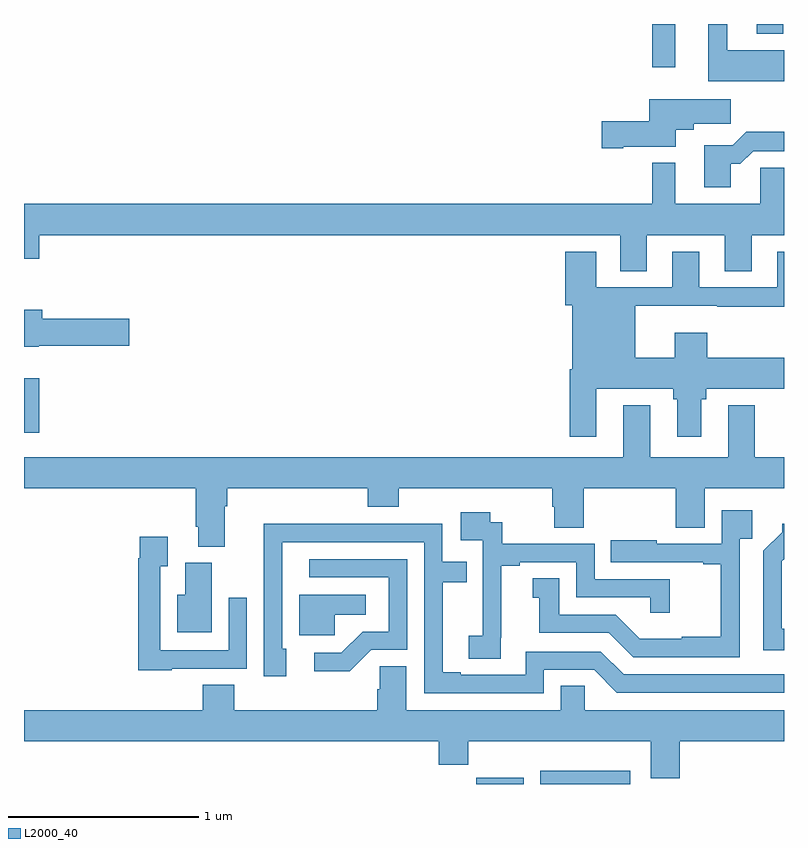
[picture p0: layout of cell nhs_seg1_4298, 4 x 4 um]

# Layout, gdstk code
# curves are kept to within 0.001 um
import gdstk
lib = gdstk.Library(unit=1e-6, precision=1e-09)
def R(c, l, rs):  # rectangles x0, y0, x1, y1
    for r in rs: c.add(gdstk.rectangle(r[:2], r[2:], *l))
def P(c, l, *ps):  # polygons
    for p in ps: c.add(gdstk.Polygon(p, *l))
L2000_40 = (2000, 40)

nhs_seg1_4298 = lib.new_cell('nhs_seg1_4298')
R(nhs_seg1_4298, L2000_40, [(347.38,526.199,347.629,526.231), (347.717,526.199,348.19,526.27), (345,528.048,345.08,528.334), (348.306,529.971,348.427,530.199), (348.857,530.147,348.997,530.199)])
P(nhs_seg1_4298, L2000_40, [(349,530.062),(348.7,530.062),(348.7,530.199),(348.602,530.199),(348.602,529.898),(349,529.898)],
  [(348.154,529.553),(348.43,529.553),(348.43,529.643),(348.526,529.643),(348.526,529.675),(348.721,529.675),(348.721,529.804),(348.29,529.804),(348.29,529.688),(348.042,529.688),(348.042,529.546),(348.154,529.546)],
  [(348.721,529.463),(348.77,529.463),(348.837,529.53),(349,529.53),(349,529.631),(348.8,529.631),(348.73,529.561),(348.581,529.561),(348.581,529.341),(348.721,529.341)],
  [(348.277,529.088),(348.689,529.088),(348.689,528.898),(348.829,528.898),(348.829,529.088),(349,529.088),(349,529.442),(348.876,529.442),(348.876,529.252),(348.427,529.252),(348.427,529.468),(348.306,529.468),(348.306,529.252),(345,529.252),(345,528.964),(345.08,528.964),(345.08,529.088),(348.137,529.088),(348.137,528.898),(348.277,528.898)],
  [(348.013,528.278),(348.418,528.278),(348.418,528.225),(348.437,528.225),(348.437,528.027),(348.565,528.027),(348.565,528.225),(348.591,528.225),(348.591,528.278),(349,528.278),(349,528.442),(348.596,528.442),(348.596,528.574),(348.425,528.574),(348.425,528.442),(348.217,528.442),(348.217,528.716),(348.649,528.716),(348.649,528.712),(349,528.712),(349,529),(348.965,529),(348.965,528.813),(348.553,528.813),(348.553,529),(348.413,529),(348.413,528.813),(348.013,528.813),(348.013,529),(347.849,529),(347.849,528.72),(347.885,528.72),(347.885,528.382),(347.873,528.382),(347.873,528.027),(348.013,528.027)],
  [(345.078,528.506),(345.553,528.506),(345.553,528.648),(345.095,528.648),(345.095,528.694),(345,528.694),(345,528.5),(345.078,528.5)],
  [(346.057,527.66),(346.07,527.66),(346.07,527.756),(346.808,527.756),(346.808,527.657),(346.973,527.657),(346.973,527.756),(347.78,527.756),(347.78,527.658),(347.792,527.658),(347.792,527.548),(347.945,527.548),(347.945,527.756),(348.431,527.756),(348.431,527.548),(348.583,527.548),(348.583,527.756),(349,527.756),(349,527.92),(348.847,527.92),(348.847,528.193),(348.707,528.193),(348.707,527.92),(348.295,527.92),(348.295,528.193),(348.155,528.193),(348.155,527.92),(345,527.92),(345,527.756),(345.905,527.756),(345.905,527.554),(345.917,527.554),(345.917,527.449),(346.057,527.449)],
  [(348.768,527.489),(348.833,527.489),(348.833,527.641),(348.672,527.641),(348.672,527.463),(348.331,527.463),(348.331,527.482),(348.088,527.482),(348.088,527.367),(348.575,527.367),(348.575,527.355),(348.667,527.355),(348.667,526.975),(348.461,526.975),(348.461,526.963),(348.242,526.963),(348.114,527.091),(347.818,527.091),(347.818,527.282),(347.678,527.282),(347.678,527.179),(347.711,527.179),(347.711,526.995),(348.078,526.995),(348.207,526.866),(348.768,526.866)],
  [(347.51,526.969),(347.512,526.969),(347.512,527.347),(347.608,527.347),(347.608,527.367),(347.907,527.367),(347.907,527.181),(348.297,527.181),(348.297,527.1),(348.398,527.1),(348.398,527.277),(348.003,527.277),(348.003,527.463),(347.516,527.463),(347.516,527.577),(347.454,527.577),(347.454,527.629),(347.298,527.629),(347.298,527.481),(347.415,527.481),(347.415,527.177),(347.414,527.177),(347.414,526.98),(347.34,526.98),(347.34,526.858),(347.51,526.858)],
  [(349,527.015),(348.988,527.015),(348.988,527.371),(349,527.383),(349,527.57),(348.99,527.57),(348.99,527.525),(348.891,527.426),(348.891,526.902),(349,526.902)],
  [(347.736,526.8),(348,526.8),(348.12,526.68),(349,526.68),(349,526.776),(348.156,526.776),(348.036,526.896),(347.64,526.896),(347.64,526.773),(347.299,526.773),(347.299,526.788),(347.203,526.788),(347.203,527.262),(347.33,527.262),(347.33,527.37),(347.202,527.37),(347.202,527.568),(346.724,527.568),(346.724,527.57),(346.262,527.57),(346.263,526.767),(346.381,526.767),(346.381,526.911),(346.359,526.911),(346.359,527.472),(347.106,527.472),(347.106,526.677),(347.736,526.677)],
  [(345.777,526.806),(346.173,526.806),(346.173,527.179),(346.077,527.179),(346.077,526.902),(345.717,526.902),(345.717,527.344),(345.757,527.344),(345.757,527.5),(345.609,527.5),(345.609,527.387),(345.601,527.387),(345.601,526.799),(345.777,526.799)],
  [(346.827,526.905),(347.016,526.905),(347.016,527.382),(346.5,527.382),(346.5,527.286),(346.92,527.286),(346.92,527.001),(346.782,527.001),(346.671,526.89),(346.527,526.89),(346.527,526.793),(346.714,526.793)],
  [(345.988,527.364),(345.848,527.364),(345.848,527.194),(345.806,527.194),(345.806,526.997),(345.988,526.997)],
  [(346.635,527.09),(346.798,527.09),(346.798,527.194),(346.448,527.194),(346.448,526.983),(346.635,526.983)],
  [(348.452,526.424),(349,526.424),(349,526.588),(347.952,526.588),(347.952,526.715),(347.825,526.715),(347.825,526.588),(347.011,526.588),(347.011,526.82),(346.872,526.82),(346.872,526.697),(346.859,526.697),(346.859,526.588),(346.106,526.588),(346.106,526.721),(345.941,526.721),(345.941,526.588),(345,526.588),(345,526.424),(347.183,526.424),(347.183,526.3),(347.339,526.3),(347.339,526.424),(348.299,526.424),(348.299,526.23),(348.452,526.23)])

lib.write_gds('nhs_seg1_4298.gds')
